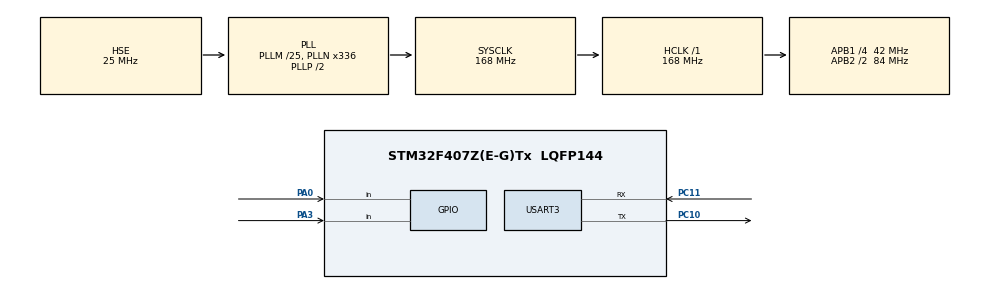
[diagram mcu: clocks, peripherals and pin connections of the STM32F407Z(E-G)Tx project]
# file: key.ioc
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Mcu.Family=STM32F4
Mcu.Name=STM32F407Z(E-G)Tx
Mcu.Package=LQFP144
NVIC.PriorityGroup=NVIC_PRIORITYGROUP_4
NVIC.USART3_IRQn=true\:0\:0\:false\:false\:true\:true\:true\:true
PA0-WKUP.GPIO_PuPd=GPIO_PULLUP
PA0-WKUP.Signal=GPIO_Input
PA13.Mode=Serial_Wire
PA13.Signal=SYS_JTMS-SWDIO
PA14.Mode=Serial_Wire
PA14.Signal=SYS_JTCK-SWCLK
PA3.GPIO_PuPd=GPIO_PULLUP
PA3.Signal=GPIO_Input
PC10.Mode=Asynchronous
PC10.Signal=USART3_TX
PC11.Mode=Asynchronous
PC11.Signal=USART3_RX
PC14-OSC32_IN.Mode=LSE-External-Oscillator
PC14-OSC32_IN.Signal=RCC_OSC32_IN
PC15-OSC32_OUT.Mode=LSE-External-Oscillator
PC15-OSC32_OUT.Signal=RCC_OSC32_OUT
PH0-OSC_IN.Mode=HSE-External-Oscillator
PH0-OSC_IN.Signal=RCC_OSC_IN
PH1-OSC_OUT.Mode=HSE-External-Oscillator
PH1-OSC_OUT.Signal=RCC_OSC_OUT
ProjectManager.HeapSize=0x200
ProjectManager.StackSize=0x400
ProjectManager.TargetToolchain=MDK-ARM V5.32
RCC.48MHZClocksFreq_Value=84000000
RCC.AHBFreq_Value=168000000
RCC.APB1CLKDivider=RCC_HCLK_DIV4
RCC.APB1Freq_Value=42000000
RCC.APB1TimFreq_Value=84000000
RCC.APB2CLKDivider=RCC_HCLK_DIV2
RCC.APB2Freq_Value=84000000
RCC.APB2TimFreq_Value=168000000
RCC.CortexFreq_Value=168000000
RCC.HCLKFreq_Value=168000000
RCC.HSE_VALUE=25000000
RCC.HSI_VALUE=16000000
RCC.PLLM=25
RCC.PLLN=336
RCC.PLLSourceVirtual=RCC_PLLSOURCE_HSE
RCC.SYSCLKFreq_VALUE=168000000
RCC.SYSCLKSource=RCC_SYSCLKSOURCE_PLLCLK
RCC.VCOOutputFreq_Value=336000000
USART3.VirtualMode=VM_ASYNC
board=custom

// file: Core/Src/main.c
/* USER CODE BEGIN Header */
/**
  ******************************************************************************
  * @file           : main.c
  * @brief          : Main program body
  ******************************************************************************
  * @attention
  *
  * Copyright (c) 2025 STMicroelectronics.
  * All rights reserved.
  *
  * This software is licensed under terms that can be found in the LICENSE file
  * in the root directory of this software component.
  * If no LICENSE file comes with this software, it is provided AS-IS.
  *
  ******************************************************************************
  */
/* USER CODE END Header */
#include "main.h"
#include "usart.h"
#include "gpio.h"

/* USER CODE BEGIN Includes */
#include "key.h"
#include "stdio.h"
/* USER CODE END Includes */

/* USER CODE BEGIN PV */
uint8_t key_temp=0;		// 记录按键状态
uint32_t key_tick=0;
uint8_t key_time=0;	// 长按计时

void key_proc(){
    if(uwTick - key_tick < 20) return; 		// 借助uwTick实现消抖效果
    key_tick = uwTick;
	Key_Read();
    if(Trg)key_temp=Trg;				//记录按键此次的状态
    if(Trg==0 && Cont==0 && key_temp)	//所有的按键都弹起,检测到的是弹起之前的最后一次按下
    {
        /* 松手检测按下情况 */
        if(key_time>=150){//Long 长按大于5秒松手，在合适位置key_time+1
            if(key_temp==0x01){
				printf("Long 1\r\n");// 检测到按钮1长按3秒抬起
            }
            else if(key_temp==0x02){
				printf("Long 2\r\n");// 检测到按钮2长按3秒抬起
            }
        }else{// Short 短按松手
            if(key_temp==0x01){
				printf("Short 1\r\n");// 检测到按钮1抬起
            }
            else if(key_temp==0x02){
				printf("Short 2\r\n");// 检测到按钮2抬起
            }
        }
        key_time=0;	//长按计数清0
        key_temp=0;		// key_temp清0

    }
    if(Cont && ++key_time>=150){	// 累加防溢出，建议key_time累加通过定时器实现，更准确
        key_time=150;
    }
}
/* USER CODE END PV */

void SystemClock_Config(void);

int main(void)
{

  /* MCU Configuration--------------------------------------------------------*/

  /* Reset of all peripherals, Initializes the Flash interface and the Systick. */
  HAL_Init();

  /* Configure the system clock */
  SystemClock_Config();

  /* Initialize all configured peripherals */
  MX_GPIO_Init();
  MX_USART3_UART_Init();

  /* Infinite loop */
  /* USER CODE BEGIN WHILE */
  while (1)
  {
key_proc();
    /* USER CODE END WHILE */

  }
}

void SystemClock_Config(void)
{
  RCC_OscInitTypeDef RCC_OscInitStruct = {0};
  RCC_ClkInitTypeDef RCC_ClkInitStruct = {0};

  /** Configure the main internal regulator output voltage
  */
  __HAL_RCC_PWR_CLK_ENABLE();
  __HAL_PWR_VOLTAGESCALING_CONFIG(PWR_REGULATOR_VOLTAGE_SCALE1);

  /** Initializes the RCC Oscillators according to the specified parameters
  * in the RCC_OscInitTypeDef structure.
  */
  RCC_OscInitStruct.OscillatorType = RCC_OSCILLATORTYPE_HSE;
  RCC_OscInitStruct.HSEState = RCC_HSE_ON;
  RCC_OscInitStruct.PLL.PLLState = RCC_PLL_ON;
  RCC_OscInitStruct.PLL.PLLSource = RCC_PLLSOURCE_HSE;
  RCC_OscInitStruct.PLL.PLLM = 25;
  RCC_OscInitStruct.PLL.PLLN = 336;
  RCC_OscInitStruct.PLL.PLLP = RCC_PLLP_DIV2;
  RCC_OscInitStruct.PLL.PLLQ = 4;
  if (HAL_RCC_OscConfig(&RCC_OscInitStruct) != HAL_OK)
  {
    Error_Handler();
  }

  /** Initializes the CPU, AHB and APB buses clocks
  */
  RCC_ClkInitStruct.ClockType = RCC_CLOCKTYPE_HCLK|RCC_CLOCKTYPE_SYSCLK
                              |RCC_CLOCKTYPE_PCLK1|RCC_CLOCKTYPE_PCLK2;
  RCC_ClkInitStruct.SYSCLKSource = RCC_SYSCLKSOURCE_PLLCLK;
  RCC_ClkInitStruct.AHBCLKDivider = RCC_SYSCLK_DIV1;
  RCC_ClkInitStruct.APB1CLKDivider = RCC_HCLK_DIV4;
  RCC_ClkInitStruct.APB2CLKDivider = RCC_HCLK_DIV2;

  if (HAL_RCC_ClockConfig(&RCC_ClkInitStruct, FLASH_LATENCY_5) != HAL_OK)
  {
    Error_Handler();
  }
}

void Error_Handler(void)
{
  __disable_irq();
  while (1)
  {
  }
}
